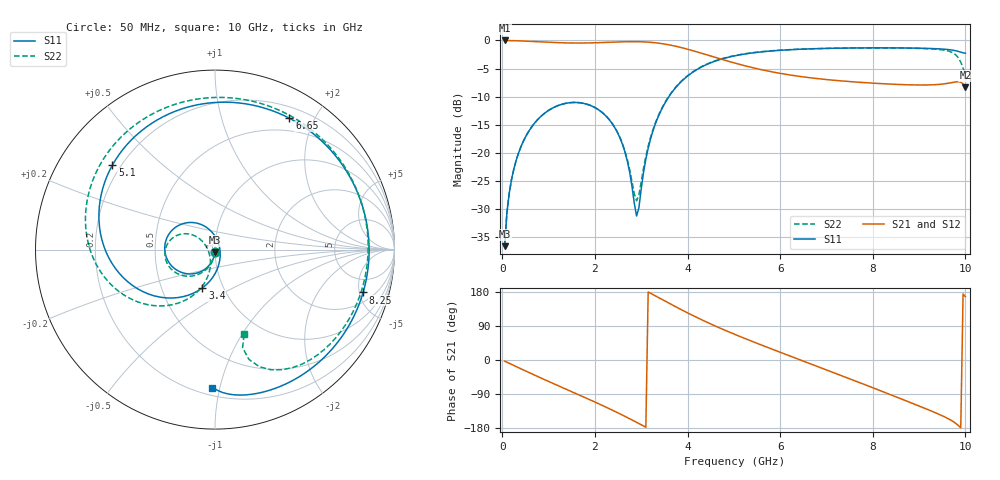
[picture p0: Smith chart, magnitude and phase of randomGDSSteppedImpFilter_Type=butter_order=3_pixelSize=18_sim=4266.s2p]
! freq	dB(S11)	phase(S11)	dB(S12)	phase(S12)
!  dB(S21)	phase(S21)	dB(S22)	phase(S22)
!S-par simulation data
#  GHz  S  DB  R 50
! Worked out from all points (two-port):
!   200 points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, 50 MHz to 10 GHz, reference 50 ohm
!   highest |S21| = -0.01 dB at 50 MHz (marker M1); lowest = -8.4 dB at 10 GHz (marker M2)
!   |S21| within 3 dB of the highest: start of sweep to 4.593 GHz
!   lowest |S11| = -36.6 dB at 50 MHz (marker M3), VSWR 1.03, Z = 49.9 - j1.47 ohm
!   |S11| at or under -10 dB: start of sweep to 3.599 GHz
!   |S22| runs from -36.6 to -1.3 dB; largest |S21 - S12| = 0
!   S11 on the Smith chart (normalised r, x): 50 MHz: 1.00, -0.03; 3.4 GHz: 0.80, -0.36; 5.1 GHz: 0.17, +0.35; 6.65 GHz: 0.33, +1.67; 8.25 GHz: 3.00, -5.46; 10 GHz: 0.25, -0.95
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0.05  -36.62 -92.7  -0.01 -2.9  -0.01 -2.9  -36.61 -92.3
0.2  -24.74 -102.4  -0.03 -11.6  -0.03 -11.6  -24.74 -101.1
0.5  -17.20 -120.9  -0.12 -28.8  -0.12 -28.8  -17.19 -117.6
1.15  -11.78 -159.2  -0.38 -64.8  -0.38 -64.8  -11.77 -151.4
1.75  -11.20 165.7  -0.46 -97.2  -0.46 -97.2  -11.19 179.2
2.5  -16.61 115.4  -0.27 -139.7  -0.27 -139.7  -16.55 146.8
2.7  -21.47 94.3  -0.23 -151.8  -0.23 -151.8  -21.21 146.3
2.9  -31.25 15.6  -0.22 -164.4  -0.22 -164.4  -28.54 -162.7
3.15  -19.19 -83.6  -0.30 179.4  -0.30 179.4  -18.82 -104.5
3.4  -12.96 -108.3  -0.52 162.9  -0.52 162.9  -12.82 -110.3
4.15  -5.45 -162.9  -1.91 115.3  -1.91 115.3  -5.39 -148.7
5.05  -2.69 143.3  -4.10 66.1  -4.10 66.1  -2.64 168.0
5.1  -2.61 140.5  -4.21 63.6  -4.21 63.6  -2.57 165.8
5.9  -1.82 98.4  -5.71 25.2  -5.71 25.2  -1.79 131.9
6.65  -1.50 60.5  -6.65 -9.6  -6.65 -9.6  -1.49 100.5
6.7  -1.49 58.0  -6.70 -12.0  -6.70 -12.0  -1.48 98.3
7.5  -1.35 18.9  -7.32 -49.4  -7.32 -49.4  -1.36 62.8
8.25  -1.32 -16.1  -7.72 -85.1  -7.72 -85.1  -1.34 26.5
8.35  -1.32 -20.7  -7.76 -89.9  -7.76 -89.9  -1.34 21.5
9.05  -1.39 -51.6  -7.94 -123.9  -7.94 -123.9  -1.43 -15.7
9.65  -1.64 -78.0  -7.59 -156.2  -7.59 -156.2  -1.93 -52.9
10  -2.27 -91.1  -8.36 167.2  -8.36 167.2  -6.05 -71.0
